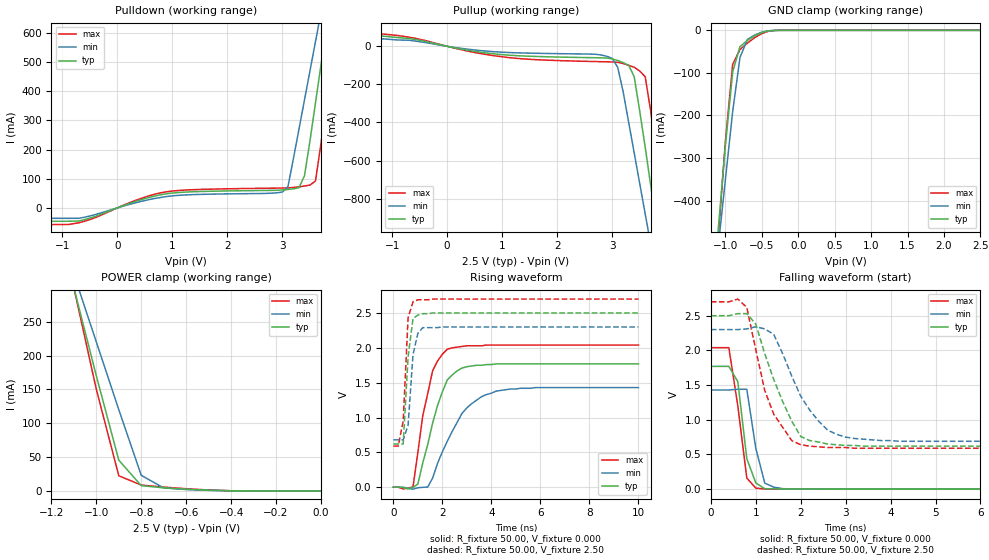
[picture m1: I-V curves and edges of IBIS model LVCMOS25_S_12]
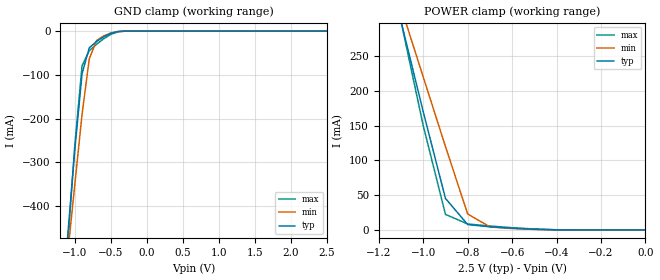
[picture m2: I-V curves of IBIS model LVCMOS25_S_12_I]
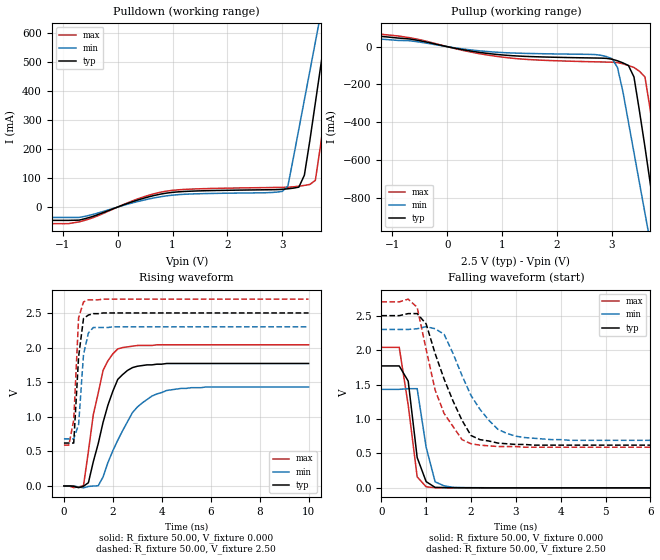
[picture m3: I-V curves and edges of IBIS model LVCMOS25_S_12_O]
| / 7\'7
| \ \   Xilinx Inc.
| / /
| \_\/.\   IBIS Models for Spartan-3E
[IBIS ver]   3.2
[File name]   Sys_KeyboardTest.ibs
[File Rev]   1.5
[Date]   Thu Jun 11 00:01:46 2009
[Source]   HSPICE simulations
[Notes]   IBIS models for Spartan-3E
[Disclaimer]
|   The data in this model is derived from SPICE simulations using
|   modeling information extracted from the target process. While
|   a great deal of care has been taken to provide information
|   that is accurate, this model is considered preliminary as it
|   has not been verified by actual silicon measurement. Treat the
|   data in this model as preliminary until actual silicon
|   verification is performed.
|   To accurately model package parasitics, please follow the
|   instructions at:  http://www.xilinx.com/xlnx/
|   xil_ans_display.jsp?getPagePath=11754
|   LVDS and LVPECL drivers require the use of external
|   termination resistors to provide the correct voltage levels.
|   For more information, refer to the Spartan-3 documentation.
|   NOTE: This file is compliant with IBIS Version 3.2, but it
|   may not implement all approved 3.2 features.
|   NOTE:  Newer versions of the buffer models may be available.
|   Check the web (http://www.xilinx.com/support/sw_ibis.htm) for
|   the latest file revision.  However, please be aware that the
|   web files are not compatible for use with IBISWriter, and
|   must be manually annotated, should their use be preferred.
[Copyright]
| Copyright 2006, Xilinx Inc., All rights reserved
|   Component Spartan-3E
[Component]   Spartan-3E
[Manufacturer]   Xilinx Inc.
[Package]
| For Package Type fg320
| variable   typ   min   max
R_pkg   279.84m   143.60m   397.60m
L_pkg   5.05nH   2.59nH   7.05nH
C_pkg   0.88pF   0.46pF   1.61pF
[Pin]  signal_name   model_name   R_pin   L_pin   C_pin
D17   Lights<10>   LVCMOS25_S_12_O
F15   Lights<11>   LVCMOS25_S_12_O
P11   KeyData   LVCMOS25_S_12_I
R12   KeyCLK   LVCMOS25_S_12_I
R4   Lights<0>   LVCMOS25_S_12_O
F4   Lights<1>   LVCMOS25_S_12_O
P15   Lights<2>   LVCMOS25_S_12_O
E17   Lights<3>   LVCMOS25_S_12_O
K14   Lights<4>   LVCMOS25_S_12_O
K15   Lights<5>   LVCMOS25_S_12_O
J15   Lights<6>   LVCMOS25_S_12_O
J14   Lights<7>   LVCMOS25_S_12_O
G14   Lights<8>   LVCMOS25_S_12_O
D16   Lights<9>   LVCMOS25_S_12_O
B1   PROG_B   LVCMOS25_S_12
U3   CSO_B   LVCMOS25_S_12
T3   INIT_B   LVCMOS25_S_12
T4   MOSI/CSI_B   LVCMOS25_S_12
N9   D7/GCLK12   LVCMOS25_S_12
M9   D6/GCLK13   LVCMOS25_S_12
R9   D5   LVCMOS25_S_12
U9   D4/GCLK14   LVCMOS25_S_12
V9   D3/GCLK15   LVCMOS25_S_12
U10   RDWR_B/GCLK0   LVCMOS25_S_12
T10   M2/GCLK1   LVCMOS25_S_12
R10   D2/GCLK2   LVCMOS25_S_12
P10   D1/GCLK3   LVCMOS25_S_12
V11   M1   LVCMOS25_S_12
M10   M0   LVCMOS25_S_12
N10   DIN/D0   LVCMOS25_S_12
P13   A23   LVCMOS25_S_12
R13   A22   LVCMOS25_S_12
T14   A21   LVCMOS25_S_12
R14   A20   LVCMOS25_S_12
U16   CCLK   LVCMOS25_S_12
V17   DONE   LVCMOS25_S_12
U18   A16   LVCMOS25_S_12
T17   A15   LVCMOS25_S_12
R18   A14   LVCMOS25_S_12
T18   A13   LVCMOS25_S_12
L16   A12   LVCMOS25_S_12
L15   A11   LVCMOS25_S_12
K13   A10/RHCLK0   LVCMOS25_S_12
K12   A9/RHCLK1   LVCMOS25_S_12
J17   A6/RHCLK4/IRDY1   LVCMOS25_S_12
J16   A5/RHCLK5   LVCMOS25_S_12
J12   A2   LVCMOS25_S_12
J13   A1   LVCMOS25_S_12
H17   A0   LVCMOS25_S_12
C18   LDC1   LVCMOS25_S_12
C17   LDC2   LVCMOS25_S_12
D15   TMS   LVCMOS25_S_12
C16   TDO   LVCMOS25_S_12
A17   TCK   LVCMOS25_S_12
B3   HSWAP   LVCMOS25_S_12
A2   TDI   LVCMOS25_S_12
A1   GND   GND
B2   GND   GND
A18   GND   GND
B17   GND   GND
V1   GND   GND
U2   GND   GND
V18   GND   GND
U17   GND   GND
C10   GND   GND
G7   GND   GND
G12   GND   GND
H8   GND   GND
H9   GND   GND
H10   GND   GND
H11   GND   GND
J8   GND   GND
K8   GND   GND
J11   GND   GND
K11   GND   GND
L8   GND   GND
L9   GND   GND
L10   GND   GND
L11   GND   GND
M7   GND   GND
M12   GND   GND
J3   GND   GND
K16   GND   GND
T9   GND   GND
B7   VCCAUX   POWER
B12   VCCAUX   POWER
G2   VCCAUX   POWER
M2   VCCAUX   POWER
G17   VCCAUX   POWER
M17   VCCAUX   POWER
U7   VCCAUX   POWER
U12   VCCAUX   POWER
A9   VCCO_0   POWER
C6   VCCO_0   POWER
C13   VCCO_0   POWER
G8   VCCO_0   POWER
G11   VCCO_0   POWER
J18   VCCO_1   POWER
F16   VCCO_1   POWER
N16   VCCO_1   POWER
H12   VCCO_1   POWER
L12   VCCO_1   POWER
V10   VCCO_2   POWER
T6   VCCO_2   POWER
T13   VCCO_2   POWER
M8   VCCO_2   POWER
M11   VCCO_2   POWER
K1   VCCO_3   POWER
F3   VCCO_3   POWER
N3   VCCO_3   POWER
H7   VCCO_3   POWER
L7   VCCO_3   POWER
E5   VCCINT   POWER
F6   VCCINT   POWER
E14   VCCINT   POWER
F13   VCCINT   POWER
N6   VCCINT   POWER
P5   VCCINT   POWER
N13   VCCINT   POWER
P14   VCCINT   POWER
| Models and submodels in the file (3): LVCMOS25_S_12 (I/O), LVCMOS25_S_12_I (Input), LVCMOS25_S_12_O (Output)
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|   Model LVCMOS25_S_12
[Model]   LVCMOS25_S_12
Model_type   I/O
Polarity   Non-Inverting
Enable   Active-Low
Vinl =   0.70V
Vinh =   1.70V
Vmeas =   1.25V
Cref =  0.000F
Rref =  1MOhm
Vref =  0.000V
C_comp   1.50pF   1.30pF   1.70pF
[Temperature Range]   25.00   85.00   0.000
[Voltage Range]   2.50V   2.30V   2.70V
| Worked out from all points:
|   slope of the pulldown table from 0 to 0.375 V, typ, clamps not added: 15.1 ohm
|   slope of the pullup table from 0 to 0.375 V, typ, clamps not added: 18.1 ohm
|   GND clamp passes 1 mA (typ) near -0.40 V on its own axis
|   POWER clamp passes 1 mA (typ) near -0.50 V on its own axis
|   rising waveform, R_fixture 50.00, V_fixture 0.000: 20-80 % time 851ps typ, 1.26ns min, 614ps max; typ from 0 V to 1.77 V
|   rising waveform, R_fixture 50.00, V_fixture 2.50: 20-80 % time 232ps typ, 226ps min, 171ps max; typ from 0.62 V to 2.5 V
|   falling waveform, R_fixture 50.00, V_fixture 0.000: 20-80 % time 225ps typ, 251ps min, 255ps max; typ from 1.77 V to 0 V
|   falling waveform, R_fixture 50.00, V_fixture 2.50: 20-80 % time 670ps typ, 789ps min, 559ps max; typ from 2.5 V to 0.62 V
[Pulldown]
| voltage   I(typ)   I(min)   I(max)
-2.5V     -45.98mA   -35.9mA    -57.32mA
-900mV    -45.98mA   -35.9mA    -57.32mA
900mV     48.52mA    38.96mA    55.38mA
3V        61.37mA    54.24mA    68.01mA
3.1V      63.12mA    73.01mA    68.54mA
3.3V      68.84mA    270mA      72.06mA
3.4V      110mA      370mA      74.78mA
3.5V      230mA      470mA      78.11mA
3.6V      360mA      570mA      92.25mA
3.8V      620mA      770mA      370mA
4V        880mA      970mA      660mA
5V        2.18A      1.98A      2.14A
[Pullup]
| voltage   I(typ)   I(min)   I(max)
-2.5V     72mA       55mA       87mA
-900mV    45.71mA    33.1mA     56.74mA
1.1V      -46.15mA   -32.5mA    -58.58mA
2.8V      -60.59mA   -45.67mA   -80.85mA
3.1V      -74.77mA   -110mA     -84.17mA
3.2V      -85.87mA   -240mA     -90.52mA
3.4V      -160mA     -560mA     -110mA
3.6V      -530mA     -880mA     -160mA
3.7V      -730mA     -1.04A     -340mA
3.8V      -920mA     -1.2A      -580mA
4V        -1.31A     -1.52A     -1.04A
5V        -3.26A     -3.13A     -3.39A
[GND_clamp]
| voltage   I(typ)   I(min)   I(max)
-2.5V     -3.19A     -2.76A     -3.77A
-1.1V     -470mA     -510mA     -490mA
-1V       -270mA     -350mA     -260mA
-900mV    -97.22mA   -190mA     -79.28mA
-800mV    -38.27mA   -63.6mA    -44.92mA
-700mV    -23.77mA   -21.82mA   -30.15mA
-600mV    -13.05mA   -10.93mA   -17.48mA
-500mV    -5.01mA    -4.37mA    -7.42mA
-400mV    -940uA     -990uA     -1.6mA
-300mV    -78.43uA   -120uA     -130uA
2.5V      11.7nA     2.25uA     11.13nA
[POWER_clamp]
| voltage   I(typ)   I(min)   I(max)
-2.5V     2.1A       1.72A      2.35A
-1.1V     300mA      320mA      300mA
-1V       170mA      220mA      150mA
-900mV    45.39mA    120mA      22.39mA
-800mV    7.78mA     23.01mA    8.63mA
-700mV    4.56mA     4.41mA     5.65mA
-600mV    2.55mA     2.06mA     3.26mA
-400mV    200uA      200uA      300uA
0V        11.7nA     65.87nA    13.21nA
[Ramp]
dV/dt_r   1.06/0.80n   0.86/1.33n   1.22/0.56n
dV/dt_f   1.13/0.61n   0.97/0.78n   1.27/0.50n
R_load = 50.00
[Rising Waveform]
R_fixture = 50.00
V_fixture = 0.000
| time   V(typ)   V(min)   V(max)
0s        0V         0V         0V
800ps     -4.14mV    -27.72mV   5.08mV
1ns       46.62mV    -7.11mV    500mV
1.2ns     350mV      -1.57mV    1.03V
1.4ns     610mV      2.59mV     1.34V
1.6ns     920mV      130mV      1.67V
2.2ns     1.54V      660mV      1.98V
3ns       1.73V      1.14V      2.03V
4.2ns     1.77V      1.38V      2.04V
10ns      1.77V      1.43V      2.04V
[Rising Waveform]
R_fixture = 50.00
V_fixture = 2.50
V_fixture_min = 2.30
V_fixture_max = 2.70
| time   V(typ)   V(min)   V(max)
0s        620mV      680mV      590mV
200ps     620mV      680mV      590mV
400ps     620mV      680mV      950mV
600ps     1.87V      890mV      2.43V
800ps     2.42V      1.9V       2.66V
1ns       2.47V      2.21V      2.69V
1.2ns     2.49V      2.29V      2.69V
1.6ns     2.5V       2.29V      2.7V
2ns       2.5V       2.3V       2.7V
10ns      2.5V       2.3V       2.7V
[Falling Waveform]
R_fixture = 50.00
V_fixture = 0.000
| time   V(typ)   V(min)   V(max)
0s        1.77V      1.43V      2.04V
400ps     1.77V      1.43V      2.04V
600ps     1.55V      1.44V      1.2V
800ps     440mV      1.44V      160mV
1ns       90.24mV    590mV      15.1mV
1.2ns     6.64mV     87.43mV    2.58mV
1.4ns     3.92mV     29.03mV    2.66mV
1.6ns     2.4mV      7.15mV     1.89mV
10ns      21.58uV    6.88uV     -670nV
[Falling Waveform]
R_fixture = 50.00
V_fixture = 2.50
V_fixture_min = 2.30
V_fixture_max = 2.70
| time   V(typ)   V(min)   V(max)
0s        2.5V       2.3V       2.7V
600ps     2.53V      2.3V       2.74V
800ps     2.53V      2.31V      2.62V
1ns       2.38V      2.34V      2.01V
1.2ns     1.95V      2.31V      1.42V
1.4ns     1.58V      2.23V      1.08V
2ns       760mV      1.34V      640mV
2.6ns     650mV      850mV      600mV
3.2ns     630mV      730mV      590mV
10ns      620mV      680mV      590mV
|   Model LVCMOS25_S_12_I
[Model]   LVCMOS25_S_12_I
Model_type   Input
Polarity   Non-Inverting
Vinl =   0.70V
Vinh =   1.70V
C_comp   1.50pF   1.30pF   1.70pF
[Temperature Range]   25.00   85.00   0.000
[Voltage Range]   2.50V   2.30V   2.70V
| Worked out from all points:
|   GND clamp passes 1 mA (typ) near -0.40 V on its own axis
|   POWER clamp passes 1 mA (typ) near -0.50 V on its own axis
[GND_clamp]
| voltage   I(typ)   I(min)   I(max)
-2.5V     -3.19A     -2.76A     -3.77A
-1.1V     -470mA     -510mA     -490mA
-1V       -270mA     -350mA     -260mA
-900mV    -97.22mA   -190mA     -79.28mA
-800mV    -38.27mA   -63.6mA    -44.92mA
-700mV    -23.77mA   -21.82mA   -30.15mA
-600mV    -13.05mA   -10.93mA   -17.48mA
-500mV    -5.01mA    -4.37mA    -7.42mA
-400mV    -940uA     -990uA     -1.6mA
-300mV    -78.43uA   -120uA     -130uA
2.5V      11.7nA     2.25uA     11.13nA
[POWER_clamp]
| voltage   I(typ)   I(min)   I(max)
-2.5V     2.1A       1.72A      2.35A
-1.1V     300mA      320mA      300mA
-1V       170mA      220mA      150mA
-900mV    45.39mA    120mA      22.39mA
-800mV    7.78mA     23.01mA    8.63mA
-700mV    4.56mA     4.41mA     5.65mA
-600mV    2.55mA     2.06mA     3.26mA
-400mV    200uA      200uA      300uA
0V        11.7nA     65.87nA    13.21nA
|   Model LVCMOS25_S_12_O
[Model]   LVCMOS25_S_12_O
Model_type   Output
Polarity   Non-Inverting
Enable   Active-Low
Vmeas =   1.25V
Cref =  0.000F
Rref =  1MOhm
Vref =  0.000V
C_comp   1.50pF   1.30pF   1.70pF
[Temperature Range]   25.00   85.00   0.000
[Voltage Range]   2.50V   2.30V   2.70V
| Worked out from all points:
|   slope of the pulldown table from 0 to 0.375 V, typ, clamps not added: 15.1 ohm
|   slope of the pullup table from 0 to 0.375 V, typ, clamps not added: 18.1 ohm
|   rising waveform, R_fixture 50.00, V_fixture 0.000: 20-80 % time 851ps typ, 1.26ns min, 614ps max; typ from 0 V to 1.77 V
|   rising waveform, R_fixture 50.00, V_fixture 2.50: 20-80 % time 232ps typ, 226ps min, 171ps max; typ from 0.62 V to 2.5 V
|   falling waveform, R_fixture 50.00, V_fixture 0.000: 20-80 % time 225ps typ, 251ps min, 255ps max; typ from 1.77 V to 0 V
|   falling waveform, R_fixture 50.00, V_fixture 2.50: 20-80 % time 670ps typ, 789ps min, 559ps max; typ from 2.5 V to 0.62 V
[Pulldown]
| voltage   I(typ)   I(min)   I(max)
-2.5V     -45.98mA   -35.9mA    -57.32mA
-900mV    -45.98mA   -35.9mA    -57.32mA
900mV     48.52mA    38.96mA    55.38mA
3V        61.37mA    54.24mA    68.01mA
3.1V      63.12mA    73.01mA    68.54mA
3.3V      68.84mA    270mA      72.06mA
3.4V      110mA      370mA      74.78mA
3.5V      230mA      470mA      78.11mA
3.6V      360mA      570mA      92.25mA
3.8V      620mA      770mA      370mA
4V        880mA      970mA      660mA
5V        2.18A      1.98A      2.14A
[Pullup]
| voltage   I(typ)   I(min)   I(max)
-2.5V     72mA       55mA       87mA
-900mV    45.71mA    33.1mA     56.74mA
1.1V      -46.15mA   -32.5mA    -58.58mA
2.8V      -60.59mA   -45.67mA   -80.85mA
3.1V      -74.77mA   -110mA     -84.17mA
3.2V      -85.87mA   -240mA     -90.52mA
3.4V      -160mA     -560mA     -110mA
3.6V      -530mA     -880mA     -160mA
3.7V      -730mA     -1.04A     -340mA
3.8V      -920mA     -1.2A      -580mA
4V        -1.31A     -1.52A     -1.04A
5V        -3.26A     -3.13A     -3.39A
[Ramp]
dV/dt_r   1.06/0.80n   0.86/1.33n   1.22/0.56n
dV/dt_f   1.13/0.61n   0.97/0.78n   1.27/0.50n
R_load = 50.00
[Rising Waveform]
R_fixture = 50.00
V_fixture = 0.000
| time   V(typ)   V(min)   V(max)
0s        0V         0V         0V
800ps     -4.14mV    -27.72mV   5.08mV
1ns       46.62mV    -7.11mV    500mV
1.2ns     350mV      -1.57mV    1.03V
1.4ns     610mV      2.59mV     1.34V
1.6ns     920mV      130mV      1.67V
2.2ns     1.54V      660mV      1.98V
3ns       1.73V      1.14V      2.03V
4.2ns     1.77V      1.38V      2.04V
10ns      1.77V      1.43V      2.04V
[Rising Waveform]
R_fixture = 50.00
V_fixture = 2.50
V_fixture_min = 2.30
V_fixture_max = 2.70
| time   V(typ)   V(min)   V(max)
0s        620mV      680mV      590mV
200ps     620mV      680mV      590mV
400ps     620mV      680mV      950mV
600ps     1.87V      890mV      2.43V
800ps     2.42V      1.9V       2.66V
1ns       2.47V      2.21V      2.69V
1.2ns     2.49V      2.29V      2.69V
1.6ns     2.5V       2.29V      2.7V
2ns       2.5V       2.3V       2.7V
10ns      2.5V       2.3V       2.7V
[Falling Waveform]
R_fixture = 50.00
V_fixture = 0.000
| time   V(typ)   V(min)   V(max)
0s        1.77V      1.43V      2.04V
400ps     1.77V      1.43V      2.04V
600ps     1.55V      1.44V      1.2V
800ps     440mV      1.44V      160mV
1ns       90.24mV    590mV      15.1mV
1.2ns     6.64mV     87.43mV    2.58mV
1.4ns     3.92mV     29.03mV    2.66mV
1.6ns     2.4mV      7.15mV     1.89mV
10ns      21.58uV    6.88uV     -670nV
[Falling Waveform]
R_fixture = 50.00
V_fixture = 2.50
V_fixture_min = 2.30
V_fixture_max = 2.70
| time   V(typ)   V(min)   V(max)
0s        2.5V       2.3V       2.7V
600ps     2.53V      2.3V       2.74V
800ps     2.53V      2.31V      2.62V
1ns       2.38V      2.34V      2.01V
1.2ns     1.95V      2.31V      1.42V
1.4ns     1.58V      2.23V      1.08V
2ns       760mV      1.34V      640mV
2.6ns     650mV      850mV      600mV
3.2ns     630mV      730mV      590mV
10ns      620mV      680mV      590mV
